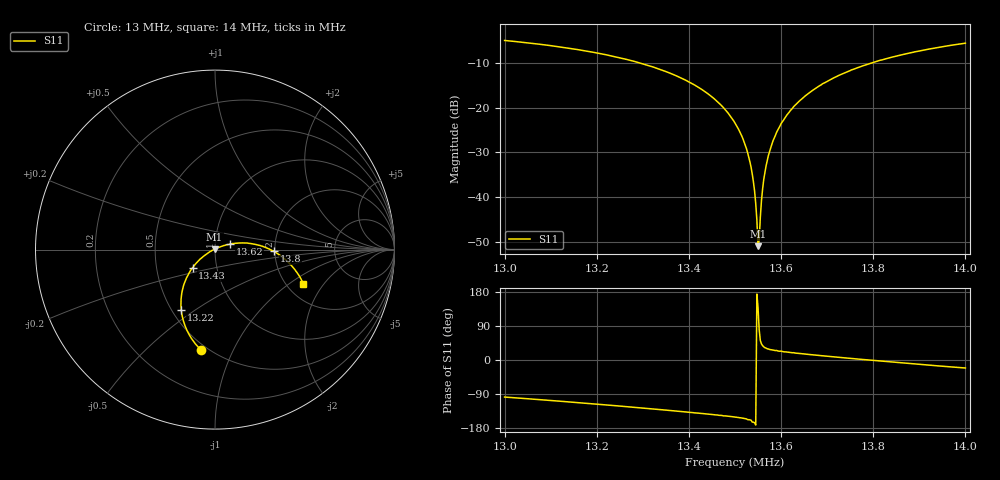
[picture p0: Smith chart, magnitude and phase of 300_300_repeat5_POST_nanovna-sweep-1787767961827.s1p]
! NanoVNA Web complex sweep
! Processing: original sample grid, no browser smoothing
# Hz S RI R 50
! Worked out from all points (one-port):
!   401 points, 13 MHz to 14 MHz, reference 50 ohm
!   lowest |S11| = -51.0 dB at 13.55 MHz (marker M1), VSWR 1.01, Z = 49.8 + j0.189 ohm
!   |S11| at or under -10 dB: 13.29 MHz to 13.8 MHz (501.4 kHz wide, 3.7 % of centre)
!   S11 on the Smith chart (normalised r, x): 13 MHz: 0.46, -0.76; 13.22 MHz: 0.56, -0.44; 13.43 MHz: 0.76, -0.16; 13.62 MHz: 1.18, +0.07; 13.8 MHz: 1.97, -0.04; 14 MHz: 2.46, -1.29
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1.3e7  -0.0768 -0.5614
1.3125e7  -0.1564 -0.4493
1.3225e7  -0.1876 -0.3386
1.325e7  -0.1898 -0.3089
1.3375e7  -0.1592 -0.1588
1.34275e7  -0.1251 -0.101
1.347e7  -0.0887 -0.0594
1.35e7  -0.0587 -0.033
1.352e7  -0.037 -0.0177
1.35325e7  -0.0228 -0.00925
1.354e7  -0.0142 -0.00406
1.35425e7  -0.0113 -0.00291
1.35475e7  -0.00547 0.000568
1.355e7  -0.00209 0.0019
1.35525e7  0.000596 0.00325
1.3555e7  0.00374 0.00465
1.356e7  0.00981 0.00762
1.3565e7  0.0159 0.0101
1.3575e7  0.0286 0.0151
1.3585e7  0.0412 0.0196
1.3595e7  0.054 0.0234
1.36175e7  0.0836 0.0305
1.3625e7  0.0935 0.0324
1.36775e7  0.164 0.0366
1.375e7  0.2598 0.0197
1.3805e7  0.3277 -0.0094
1.3875e7  0.4007 -0.0631
1.4e7  0.4928 -0.1899
